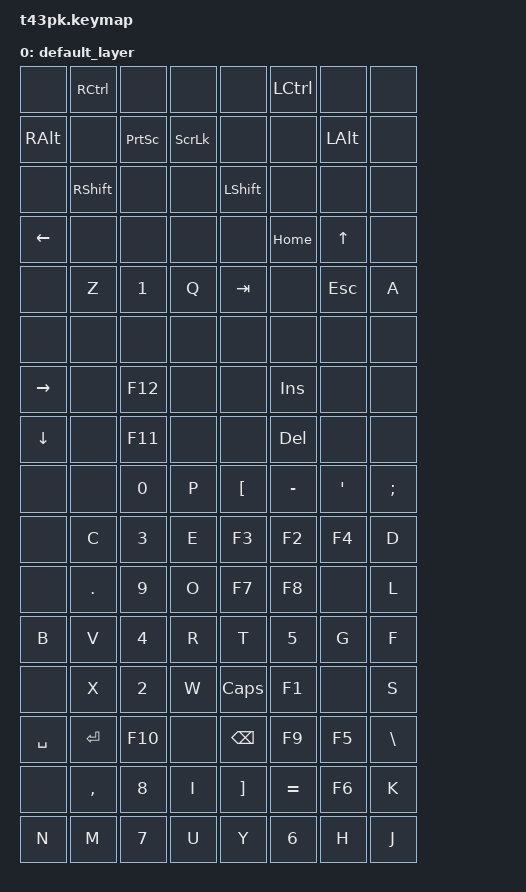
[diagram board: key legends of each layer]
#include <behaviors.dtsi>
#include <dt-bindings/zmk/keys.h>

/ {
    keymap {
        compatible = "zmk,keymap";
        default_layer {
            bindings = <
            /*  C0          C1              C2              C3              C4              C5              C6              C7            */           
                &none       &kp RCTRL       &none           &none           &none           &kp LCTRL       &none           &none
                &kp RALT    &none           &kp PRINTSCREEN &kp SLCK        &none           &none           &kp LALT        &none
                &none       &kp RSHIFT      &none           &none           &kp LSHIFT      &none           &none           &none
                &kp LEFT    &none           &none           &none           &none           &kp HOME        &kp UP          &none
                &none       &kp Z           &kp NUMBER_1    &kp Q           &kp TAB         &none           &kp ESC         &kp A
                &none       &none           &none           &none           &none           &none           &none           &none
                &kp RIGHT   &none           &kp F12         &none           &none           &kp INSERT      &none           &none
                &kp DOWN    &none           &kp F11         &none           &none           &kp DEL         &none           &none
                &none       &none           &kp NUMBER_0    &kp P           &kp LBKT        &kp MINUS       &kp SQT         &kp SEMI
                &none       &kp C           &kp NUMBER_3    &kp E           &kp F3          &kp F2          &kp F4          &kp D
                &none       &kp DOT         &kp NUMBER_9    &kp O           &kp F7          &kp F8          &none           &kp L
                &kp B       &kp V           &kp NUMBER_4    &kp R           &kp T           &kp NUMBER_5    &kp G           &kp F
                &none       &kp X           &kp NUMBER_2    &kp W           &kp CAPSLOCK    &kp F1          &none           &kp S
                &kp SPACE   &kp ENTER       &kp F10         &none           &kp BACKSPACE   &kp F9          &kp F5          &kp BACKSLASH
                &none       &kp COMMA       &kp NUMBER_8    &kp I           &kp RBKT        &kp EQUAL       &kp F6          &kp K
                &kp N       &kp M           &kp NUMBER_7    &kp U           &kp Y           &kp NUMBER_6    &kp H           &kp J
            >;
        };
    };
};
